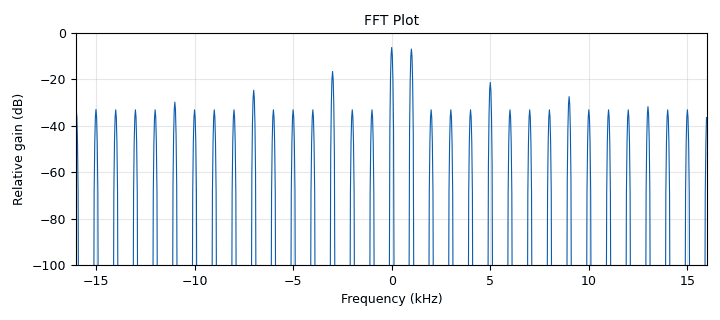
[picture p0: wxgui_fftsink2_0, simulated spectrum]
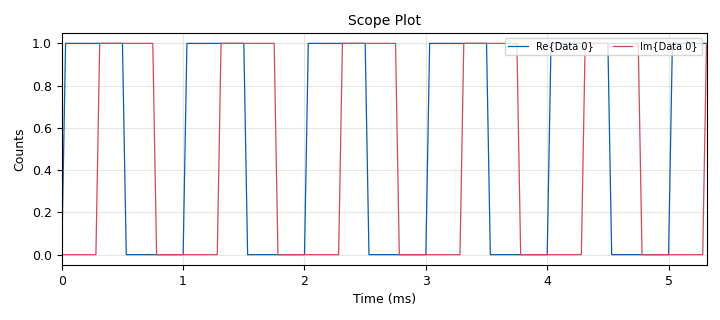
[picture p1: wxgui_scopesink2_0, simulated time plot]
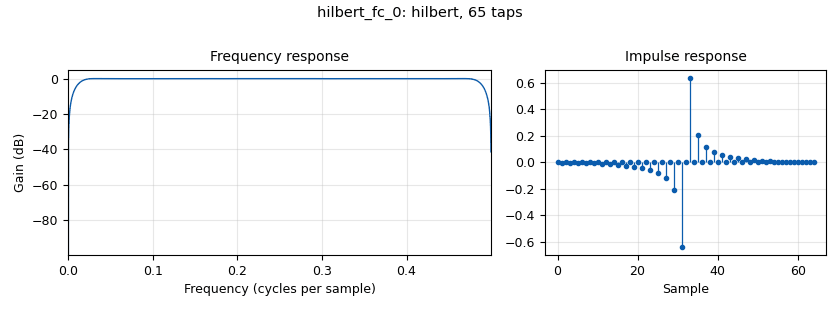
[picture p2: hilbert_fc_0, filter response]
<?xml version='1.0' encoding='utf-8'?>
<?grc format='1' created='3.7.11'?>
<flow_graph>
<block>
<key>options</key>
<param><key>id</key><value>top_block</value></param>
<param><key>generate_options</key><value>wx_gui</value></param>
</block>
<block>
<key>variable_chooser</key>
<param><key>id</key><value>chooser</value></param>
<param><key>choices</key><value>[0, 1]</value></param>
<param><key>value</key><value>0</value></param>
<param><key>label</key><value></value></param>
<param><key>labels</key><value>['Complex','Hilbert']</value></param>
<param><key>style</key><value>wx.RA_HORIZONTAL</value></param>
<param><key>type</key><value>drop_down</value></param>
</block>
<block>
<key>variable</key>
<param><key>id</key><value>samp_rate</value></param>
<param><key>value</key><value>32000</value></param>
</block>
<block>
<key>analog_sig_source_x</key>
<param><key>id</key><value>analog_sig_source_x_0</value></param>
<param><key>amp</key><value>1</value></param>
<param><key>freq</key><value>1000</value></param>
<param><key>offset</key><value>0</value></param>
<param><key>type</key><value>float</value></param>
<param><key>samp_rate</key><value>samp_rate</value></param>
<param><key>waveform</key><value>analog.GR_SQR_WAVE</value></param>
</block>
<block>
<key>analog_sig_source_x</key>
<param><key>id</key><value>analog_sig_source_x_0_0</value></param>
<param><key>amp</key><value>1</value></param>
<param><key>freq</key><value>1000</value></param>
<param><key>offset</key><value>0</value></param>
<param><key>type</key><value>complex</value></param>
<param><key>samp_rate</key><value>samp_rate</value></param>
<param><key>waveform</key><value>analog.GR_SQR_WAVE</value></param>
</block>
<block>
<key>blks2_selector</key>
<param><key>id</key><value>blks2_selector_0</value></param>
<param><key>input_index</key><value>chooser</value></param>
<param><key>num_inputs</key><value>2</value></param>
<param><key>num_outputs</key><value>1</value></param>
<param><key>output_index</key><value>0</value></param>
<param><key>type</key><value>complex</value></param>
<param><key>vlen</key><value>1</value></param>
</block>
<block>
<key>blocks_throttle</key>
<param><key>id</key><value>blocks_throttle_0</value></param>
<param><key>samples_per_second</key><value>samp_rate</value></param>
<param><key>type</key><value>float</value></param>
</block>
<block>
<key>blocks_throttle</key>
<param><key>id</key><value>blocks_throttle_0_0</value></param>
<param><key>samples_per_second</key><value>samp_rate</value></param>
<param><key>type</key><value>complex</value></param>
</block>
<block>
<key>hilbert_fc</key>
<param><key>id</key><value>hilbert_fc_0</value></param>
<param><key>num_taps</key><value>65</value></param>
<param><key>win</key><value>firdes.WIN_HAMMING</value></param>
</block>
<block>
<key>wxgui_fftsink2</key>
<param><key>id</key><value>wxgui_fftsink2_0</value></param>
<param><key>avg_alpha</key><value>0</value></param>
<param><key>average</key><value>False</value></param>
<param><key>baseband_freq</key><value>0</value></param>
<param><key>fft_size</key><value>1024</value></param>
<param><key>freqvar</key><value>None</value></param>
<param><key>peak_hold</key><value>False</value></param>
<param><key>ref_level</key><value>0</value></param>
<param><key>ref_scale</key><value>2.0</value></param>
<param><key>fft_rate</key><value>15</value></param>
<param><key>samp_rate</key><value>samp_rate</value></param>
<param><key>title</key><value>FFT Plot</value></param>
<param><key>type</key><value>complex</value></param>
<param><key>win</key><value>None</value></param>
<param><key>y_divs</key><value>10</value></param>
<param><key>y_per_div</key><value>10</value></param>
</block>
<block>
<key>wxgui_scopesink2</key>
<param><key>id</key><value>wxgui_scopesink2_0</value></param>
<param><key>ac_couple</key><value>False</value></param>
<param><key>num_inputs</key><value>1</value></param>
<param><key>samp_rate</key><value>samp_rate</value></param>
<param><key>t_scale</key><value>0</value></param>
<param><key>title</key><value>Scope Plot</value></param>
<param><key>trig_mode</key><value>wxgui.TRIG_MODE_AUTO</value></param>
<param><key>type</key><value>complex</value></param>
<param><key>v_offset</key><value>0</value></param>
<param><key>v_scale</key><value>0</value></param>
<param><key>xy_mode</key><value>False</value></param>
<param><key>y_axis_label</key><value>Counts</value></param>
</block>
<block>
<key>wxgui_scopesink2</key>
<param><key>id</key><value>wxgui_scopesink2_0_0</value></param>
<param><key>ac_couple</key><value>False</value></param>
<param><key>_enabled</key><value>0</value></param>
<param><key>num_inputs</key><value>1</value></param>
<param><key>samp_rate</key><value>samp_rate</value></param>
<param><key>t_scale</key><value>0</value></param>
<param><key>title</key><value>Scope Plot</value></param>
<param><key>trig_mode</key><value>wxgui.TRIG_MODE_AUTO</value></param>
<param><key>type</key><value>float</value></param>
<param><key>v_offset</key><value>0</value></param>
<param><key>v_scale</key><value>0</value></param>
<param><key>xy_mode</key><value>False</value></param>
<param><key>y_axis_label</key><value>Counts</value></param>
</block>
<connection><source_block_id>analog_sig_source_x_0</source_block_id><sink_block_id>blocks_throttle_0</sink_block_id><source_key>0</source_key><sink_key>0</sink_key></connection>
<connection><source_block_id>analog_sig_source_x_0</source_block_id><sink_block_id>wxgui_scopesink2_0_0</sink_block_id><source_key>0</source_key><sink_key>0</sink_key></connection>
<connection><source_block_id>analog_sig_source_x_0_0</source_block_id><sink_block_id>blocks_throttle_0_0</sink_block_id><source_key>0</source_key><sink_key>0</sink_key></connection>
<connection><source_block_id>blks2_selector_0</source_block_id><sink_block_id>wxgui_fftsink2_0</sink_block_id><source_key>0</source_key><sink_key>0</sink_key></connection>
<connection><source_block_id>blks2_selector_0</source_block_id><sink_block_id>wxgui_scopesink2_0</sink_block_id><source_key>0</source_key><sink_key>0</sink_key></connection>
<connection><source_block_id>blocks_throttle_0</source_block_id><sink_block_id>hilbert_fc_0</sink_block_id><source_key>0</source_key><sink_key>0</sink_key></connection>
<connection><source_block_id>blocks_throttle_0_0</source_block_id><sink_block_id>blks2_selector_0</sink_block_id><source_key>0</source_key><sink_key>0</sink_key></connection>
<connection><source_block_id>hilbert_fc_0</source_block_id><sink_block_id>blks2_selector_0</sink_block_id><source_key>0</source_key><sink_key>1</sink_key></connection>
</flow_graph>
